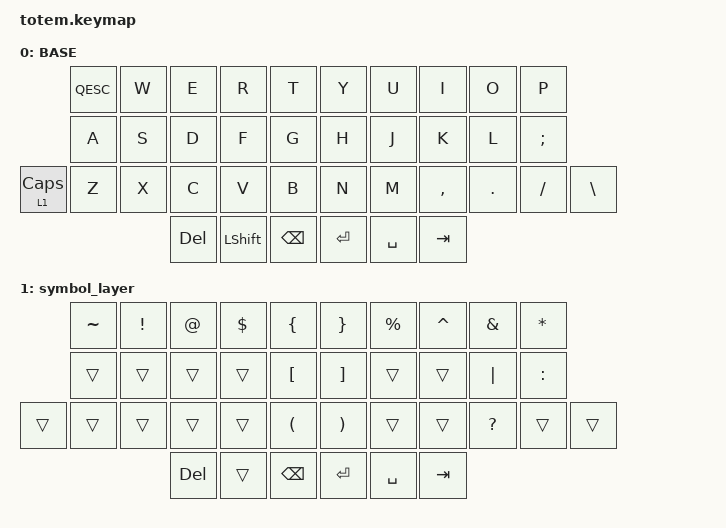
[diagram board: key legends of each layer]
//
//                                                        ▀▀▀▀▀     ▀▀▀▀▀          ▀▀█▀▀
//                                                        ▄▀▀▀▄  ▄  ▄▀▀▀▄  ▄  ▄▀▀▀▄  █  ▄▀▀▀▄
//                                                        █   █  █  █   █  █  █   █  █  █   █
//                                                         ▀▀▀   █   ▀▀▀   █   ▀▀▀   ▀   ▀▀▀
//                                                               █      ▄▄▄█▄▄▄    █   █  
//                                                               ▀      █  █  █     █▄█
//                                                             ▀▀▀▀▀    █  █  █      ▀
//                                                                      ▀  ▀  ▀
//
// ▄▄▄▄▄▄▄▄▄▄▄▄▄▄▄▄▄▄▄▄▄▄▄▄▄▄▄▄▄▄▄▄▄▄▄▄▄▄▄▄▄▄▄▄▄▄▄▄▄▄▄▄▄▄▄▄▄▄▄▄▄▄▄▄▄▄▄▄▄▄▄▄▄▄▄▄▄▄▄▄▄▄▄▄▄▄▄▄▄▄▄▄▄▄▄▄▄▄▄▄▄▄▄▄▄▄▄▄▄▄▄▄▄▄▄▄▄▄▄▄▄▄▄▄▄▄▄▄▄▄▄▄▄▄▄▄▄▄▄▄▄▄▄▄▄▄▄▄▄
       
#include <behaviors.dtsi>
#include <dt-bindings/zmk/keys.h>

/ {
    combos { compatible = "zmk,combos"; };

    behaviors {
        QESC: QESC {
            compatible = "zmk,behavior-tap-dance";
            label = "QESC";
            #binding-cells = <0>;
            bindings = <&kp Q>, <&kp ESCAPE>;
        };
    };

    keymap {
        compatible = "zmk,keymap";

        // ▄▄▄▄▄▄▄▄▄▄▄▄▄▄▄▄▄▄▄▄▄▄▄▄▄▄▄▄▄▄▄▄▄▄▄▄▄▄▄▄▄▄▄▄▄▄▄▄▄▄▄▄▄▄▄▄▄▄▄▄▄▄▄▄▄▄▄▄▄▄▄▄▄▄▄▄▄▄▄▄▄▄▄▄▄▄▄▄▄▄▄▄▄▄▄▄▄▄▄▄▄▄▄▄▄▄▄▄▄▄▄▄▄▄▄▄▄▄▄▄▄▄▄▄▄▄▄▄▄▄▄▄▄▄▄▄▄▄▄▄▄▄▄▄▄▄▄▄▄

        base_layer {
            // ┏━━━━━━━━━━━━━━━━━━━━━━━━━━━━━━━━━━━━━━━┓

            label = "BASE";

            // ┗━━━━━━━━━━━━━━━━━━━━━━━━━━━━━━━━━━━━━━━┛
            //             ┏━━━━━━━━━━━┳━━━━━━━━━━━┳━━━━━━━━━━━┳━━━━━━━━━━━┳━━━━━━━━━━━┓   ┏━━━━━━━━━━━┳━━━━━━━━━━━┳━━━━━━━━━━━┳━━━━━━━━━━━┳━━━━━━━━━━━┓
            //             ┃     Q     ┃     W     ┃     F     ┃     P     ┃     G     ┃   ┃     J     ┃     L     ┃     U     ┃     Y     ┃     ;     ┃
            //             ┣━━━━━━━━━━━╋━━━━━━━━━━━╋━━━━━━━━━━━╋━━━━━━━━━━━╋━━━━━━━━━━━┫   ┣━━━━━━━━━━━╋━━━━━━━━━━━╋━━━━━━━━━━━╋━━━━━━━━━━━╋━━━━━━━━━━━┫
            //             ┃     A     ┃     R     ┃     S     ┃     T     ┃     D     ┃   ┃     H     ┃     N     ┃     E     ┃     I     ┃     O     ┃
            // ┏━━━━━━━━━━━╋━━━━━━━━━━━╋━━━━━━━━━━━╋━━━━━━━━━━━╋━━━━━━━━━━━╋━━━━━━━━━━━┫   ┣━━━━━━━━━━━╋━━━━━━━━━━━╋━━━━━━━━━━━╋━━━━━━━━━━━╋━━━━━━━━━━━╋━━━━━━━━━━━┓
            // ┃     Q     ┃     Z     ┃     X     ┃     C     ┃     V     ┃     B     ┃   ┃     K     ┃     M     ┃     ,     ┃     .     ┃     /     ┃     \     ┃
            // ┗━━━━━━━━━━━┻━━━━━━━━━━━┻━━━━━━━━━━━╋━━━━━━━━━━━╋━━━━━━━━━━━╋━━━━━━━━━━━┫   ┣━━━━━━━━━━━╋━━━━━━━━━━━╋━━━━━━━━━━━╋━━━━━━━━━━━┻━━━━━━━━━━━┻━━━━━━━━━━━┛
            //                                     ┃    DEL    ┃    TAB    ┃    SPC    ┃   ┃   ENTER   ┃           ┃   BSPC    ┃
            //                                     ┗━━━━━━━━━━━┻━━━━━━━━━━━┻━━━━━━━━━━━┛   ┗━━━━━━━━━━━┻━━━━━━━━━━━┻━━━━━━━━━━━┛

            bindings = <
                &QESC  &kp W  &kp E    &kp R           &kp T            &kp Y    &kp U      &kp I      &kp O    &kp P
                &kp A  &kp S  &kp D    &kp F           &kp G            &kp H    &kp J      &kp K      &kp L    &kp SEMICOLON
&lt 1 CAPSLOCK  &kp Z  &kp X  &kp C    &kp V           &kp B            &kp N    &kp M      &kp COMMA  &kp DOT  &kp FSLH       &kp BSLH
                              &kp DEL  &kp LEFT_SHIFT  &kp BACKSPACE    &kp RET  &kp SPACE  &kp TAB
            >;
        };

        // ▄▄▄▄▄▄▄▄▄▄▄▄▄▄▄▄▄▄▄▄▄▄▄▄▄▄▄▄▄▄▄▄▄▄▄▄▄▄▄▄▄▄▄▄▄▄▄▄▄▄▄▄▄▄▄▄▄▄▄▄▄▄▄▄▄▄▄▄▄▄▄▄▄▄▄▄▄▄▄▄▄▄▄▄▄▄▄▄▄▄▄▄▄▄▄▄▄▄▄▄▄▄▄▄▄▄▄▄▄▄▄▄▄▄▄▄▄▄▄▄▄▄▄▄▄▄▄▄▄▄▄▄▄▄▄▄▄▄▄▄▄▄▄▄▄▄▄▄▄
        // ▄▄▄▄▄▄▄▄▄▄▄▄▄▄▄▄▄▄▄▄▄▄▄▄▄▄▄▄▄▄▄▄▄▄▄▄▄▄▄▄▄▄▄▄▄▄▄▄▄▄▄▄▄▄▄▄▄▄▄▄▄▄▄▄▄▄▄▄▄▄▄▄▄▄▄▄▄▄▄▄▄▄▄▄▄▄▄▄▄▄▄▄▄▄▄▄▄▄▄▄▄▄▄▄▄▄▄▄▄▄▄▄▄▄▄▄▄▄▄▄▄▄▄▄▄▄▄▄▄▄▄▄▄▄▄▄▄▄▄▄▄▄▄▄▄▄▄▄▄
        // ▄▄▄▄▄▄▄▄▄▄▄▄▄▄▄▄▄▄▄▄▄▄▄▄▄▄▄▄▄▄▄▄▄▄▄▄▄▄▄▄▄▄▄▄▄▄▄▄▄▄▄▄▄▄▄▄▄▄▄▄▄▄▄▄▄▄▄▄▄▄▄▄▄▄▄▄▄▄▄▄▄▄▄▄▄▄▄▄▄▄▄▄▄▄▄▄▄▄▄▄▄▄▄▄▄▄▄▄▄▄▄▄▄▄▄▄▄▄▄▄▄▄▄▄▄▄▄▄▄▄▄▄▄▄▄▄▄▄▄▄▄▄▄▄▄▄▄▄▄
        // ▄▄▄▄▄▄▄▄▄▄▄▄▄▄▄▄▄▄▄▄▄▄▄▄▄▄▄▄▄▄▄▄▄▄▄▄▄▄▄▄▄▄▄▄▄▄▄▄▄▄▄▄▄▄▄▄▄▄▄▄▄▄▄▄▄▄▄▄▄▄▄▄▄▄▄▄▄▄▄▄▄▄▄▄▄▄▄▄▄▄▄▄▄▄▄▄▄▄▄▄▄▄▄▄▄▄▄▄▄▄▄▄▄▄▄▄▄▄▄▄▄▄▄▄▄▄▄▄▄▄▄▄▄▄▄▄▄▄▄▄▄▄▄▄▄▄▄▄▄
        // ▄▄▄▄▄▄▄▄▄▄▄▄▄▄▄▄▄▄▄▄▄▄▄▄▄▄▄▄▄▄▄▄▄▄▄▄▄▄▄▄▄▄▄▄▄▄▄▄▄▄▄▄▄▄▄▄▄▄▄▄▄▄▄▄▄▄▄▄▄▄▄▄▄▄▄▄▄▄▄▄▄▄▄▄▄▄▄▄▄▄▄▄▄▄▄▄▄▄▄▄▄▄▄▄▄▄▄▄▄▄▄▄▄▄▄▄▄▄▄▄▄▄▄▄▄▄▄▄▄▄▄▄▄▄▄▄▄▄▄▄▄▄▄▄▄▄▄▄▄

        symbol_layer {
            bindings = <
        &kp TILDE  &kp EXCLAMATION  &kp AT_SIGN  &kp DOLLAR  &kp LEFT_BRACE          &kp RIGHT_BRACE        &kp PERCENT  &kp CARET  &kp AMPERSAND  &kp ASTERISK
        &trans     &trans           &trans       &trans      &kp LEFT_BRACKET        &kp RIGHT_BRACKET      &trans       &trans     &kp PIPE       &kp COLON
&trans  &trans     &trans           &trans       &trans      &kp LEFT_PARENTHESIS    &kp RIGHT_PARENTHESIS  &trans       &trans     &kp QUESTION   &trans        &trans
                                    &kp DELETE   &trans      &kp BACKSPACE           &kp ENTER              &kp SPACE    &kp TAB
            >;
        };
    };
};

